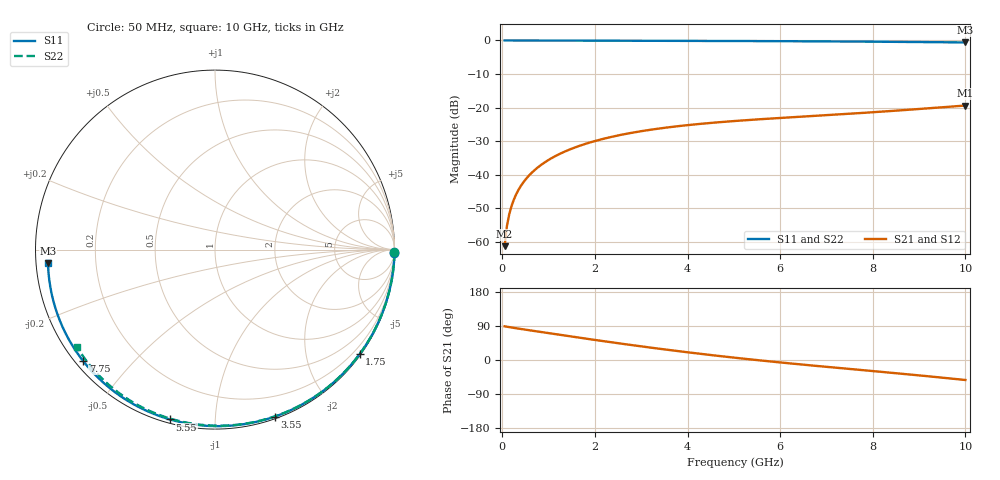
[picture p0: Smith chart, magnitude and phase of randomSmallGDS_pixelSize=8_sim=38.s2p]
! freq	dB(S11)	phase(S11)	dB(S12)	phase(S12)
!  dB(S21)	phase(S21)	dB(S22)	phase(S22)
!S-par simulation data
#  GHz  S  DB  R 50
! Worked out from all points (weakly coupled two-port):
!   200 points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, 50 MHz to 10 GHz, reference 50 ohm
!   highest |S21| = -19.40 dB at 10 GHz (marker M1); lowest = -61.3 dB at 50 MHz (marker M2)
!   lowest |S11| = -0.6 dB at 10 GHz (marker M3), VSWR 29.07, Z = 1.72 - j2.01 ohm
!   |S11| at or under -10 dB: nowhere
!   |S22| runs from -0.5 to 0.0 dB; largest |S21 - S12| = 0
!   S11 on the Smith chart (normalised r, x): 50 MHz: open; 1.75 GHz: 0.03, -3.09; 3.55 GHz: 0.02, -1.42; 5.55 GHz: 0.02, -0.77; 7.75 GHz: 0.02, -0.37; 10 GHz: 0.03, -0.04
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0.05  -0.00 -1.0  -61.34 88.9  -61.34 88.9  -0.00 -0.9
0.1  -0.00 -2.1  -55.33 87.8  -55.33 87.8  -0.00 -1.7
0.15  -0.00 -3.1  -51.83 86.7  -51.83 86.7  -0.00 -2.6
0.2  -0.00 -4.2  -49.35 85.7  -49.35 85.7  -0.00 -3.4
0.25  -0.00 -5.2  -47.43 84.7  -47.43 84.7  -0.00 -4.3
0.35  -0.01 -7.3  -44.55 82.8  -44.55 82.8  -0.00 -6.0
0.5  -0.01 -10.4  -41.50 80.0  -41.50 80.0  -0.01 -8.5
0.7  -0.02 -14.6  -38.63 76.4  -38.63 76.4  -0.01 -11.9
1  -0.03 -20.7  -35.62 70.9  -35.62 70.9  -0.02 -16.9
1.35  -0.04 -27.8  -33.13 64.5  -33.13 64.5  -0.03 -22.7
1.75  -0.05 -35.9  -31.04 57.4  -31.04 57.4  -0.04 -29.3
2.6  -0.07 -52.5  -28.05 42.6  -28.05 42.6  -0.06 -43.1
3.4  -0.10 -67.5  -26.24 29.6  -26.24 29.6  -0.08 -55.6
3.55  -0.10 -70.3  -25.97 27.2  -25.97 27.2  -0.09 -57.9
4.3  -0.13 -83.7  -24.84 16.0  -24.84 16.0  -0.11 -69.2
5.05  -0.16 -96.6  -23.98 5.6  -23.98 5.6  -0.14 -80.0
5.55  -0.19 -104.9  -23.50 -0.9  -23.50 -0.9  -0.16 -87.1
6.7  -0.25 -123.4  -22.53 -14.7  -22.53 -14.7  -0.22 -102.7
7.75  -0.34 -139.8  -21.63 -26.4  -21.63 -26.4  -0.29 -116.4
8.35  -0.40 -149.1  -21.08 -33.1  -21.08 -33.1  -0.34 -124.0
9.2  -0.49 -162.5  -20.24 -43.0  -20.24 -43.0  -0.43 -134.7
10  -0.60 -175.4  -19.40 -52.8  -19.40 -52.8  -0.53 -144.8
